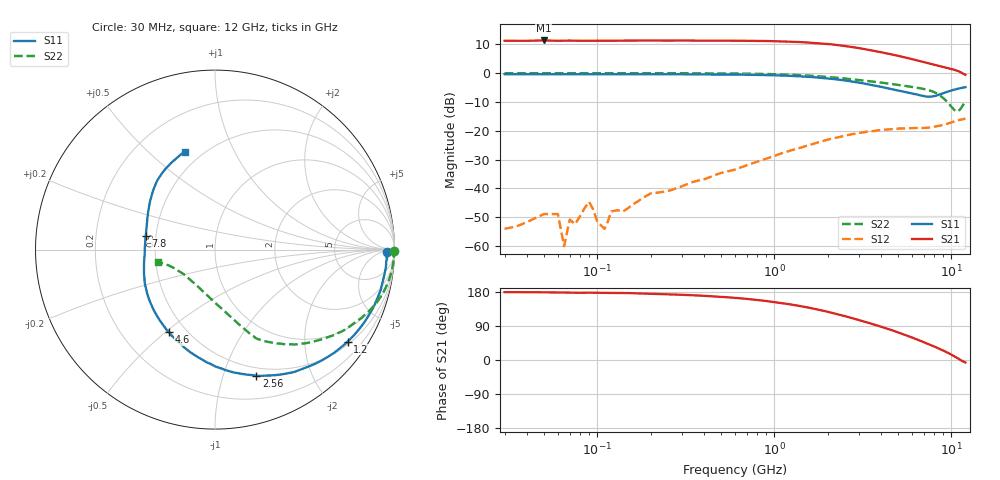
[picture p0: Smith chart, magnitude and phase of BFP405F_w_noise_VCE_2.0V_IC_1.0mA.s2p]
! Infineon Technologies  Discrete & RF Semiconductors
! BFP405F
! VCE =  2.0 V,  IC =  1.0 mA
! Common Emitter S-Parameters:  Nov 2015
# GHz  S  MA  R  50
!  f  S11  S21  S12  S22
! GHz  MAG  ANG  MAG  ANG  MAG  ANG  MAG  ANG
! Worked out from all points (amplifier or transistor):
!   239 points, 30 MHz to 12 GHz, reference 50 ohm
!   highest |S21| = 11.3 dB at 50 MHz (marker M1)
!   |S21| within 3 dB of that: start of sweep to 3.23 GHz
!   unconditionally stable (mu >= 1): 4.739 GHz to end of sweep
!   at 300 MHz: K = -0.04, MSG = 25.3 dB, |S12| = -39.3 dB
!   at 1.88 GHz: K = 0.23, MSG = 16.9 dB, |S12| = -23.6 dB
!   at 12 GHz: K = 2.00, MAG = 1.9 dB, |S12| = -15.8 dB
!   lowest NFmin = 0.95 dB at 450 MHz
!   S11 on the Smith chart (normalised r, x): 30 MHz: 42, -14; 1.2 GHz: 0.58, -3.10; 2.56 GHz: 0.42, -1.29; 4.6 GHz: 0.40, -0.51; 7.8 GHz: 0.44, +0.08; 12 GHz: 0.40, +0.65
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0.03  0.9584 -0.8  3.637 179.0  0.002 161.5  0.995 -0.5
0.05  0.9562 -1.7  3.684 178.5  0.0036 140.9  0.9946 -0.9
0.06  0.9574 -1.8  3.635 178.3  0.0036 128.6  0.9978 -0.6
0.065  0.9578 -1.9  3.649 178.0  0.001 75.1  0.9962 -0.7
0.07  0.9583 -2.0  3.664 177.7  0.0029 -18.6  0.9946 -0.9
0.075  0.959 -2.3  3.65 177.6  0.0024 24.0  0.997 -1.1
0.085  0.958 -2.6  3.641 177.6  0.0046 66.7  0.9996 -1.4
0.09  0.9563 -2.7  3.646 177.7  0.0059 70.2  0.9997 -1.5
0.11  0.9597 -3.3  3.642 177.2  0.002 34.5  0.9963 -1.8
0.12  0.9579 -3.5  3.633 177.1  0.004 86.3  0.9987 -1.9
0.24  0.9558 -7.0  3.659 173.8  0.0088 88.0  0.9959 -3.9
0.6  0.9435 -17.4  3.634 163.9  0.0213 83.2  0.9846 -9.7
1.2  0.9 -34.7  3.515 147.6  0.0441 73.5  0.9417 -19.0
1.64  0.8528 -47.1  3.352 136.2  0.0587 66.1  0.8979 -25.3
2.56  0.739 -71.8  2.919 114.5  0.0833 51.7  0.8003 -37.4
3.5  0.6297 -94.2  2.506 96.3  0.098 40.4  0.7195 -46.6
4.5  0.5363 -116.8  2.141 80.3  0.1063 32.2  0.6547 -53.6
4.6  0.5265 -119.2  2.107 78.7  0.1071 31.3  0.649 -54.2
5.9  0.4492 -147.4  1.775 60.6  0.1114 25.0  0.5815 -61.4
7.8  0.3936 168.9  1.425 37.8  0.1158 23.9  0.483 -69.0
10.6  0.5259 122.1  1.119 7.4  0.1485 21.9  0.2199 -122.5
12  0.5714 107.3  0.935 -6.6  0.1626 18.9  0.3246 -167.8
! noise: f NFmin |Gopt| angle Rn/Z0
0.45  0.95  0.71  8  0.64
0.9  0.98  0.67  15  0.67
1.5  1.19  0.65  22  0.58
1.9  1.27  0.61  31  0.56
2.4  1.5  0.57  41  0.57
3  1.58  0.55  52  0.52
3.5  1.65  0.54  62  0.48
4.5  1.9  0.46  83  0.38
5.5  2.29  0.32  105  0.28
